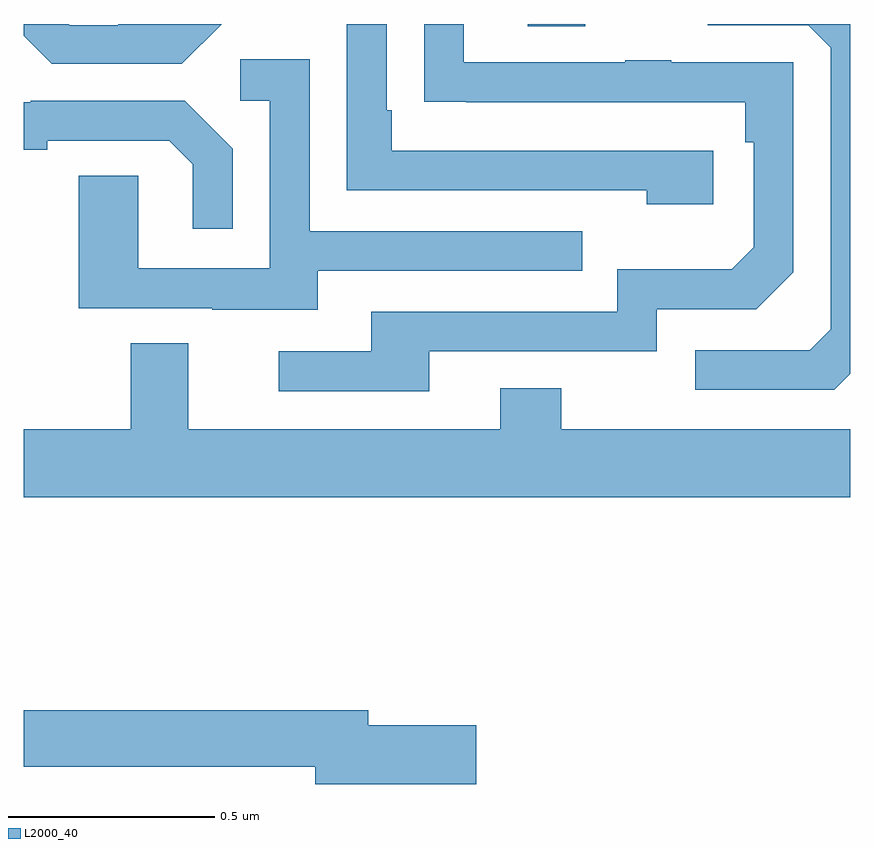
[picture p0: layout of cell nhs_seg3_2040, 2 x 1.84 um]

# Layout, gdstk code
import gdstk
lib = gdstk.Library(unit=1e-6, precision=1e-09)
def R(c, l, rs):  # rectangles x0, y0, x1, y1
    for r in rs: c.add(gdstk.rectangle(r[:2], r[2:], *l))
def P(c, l, *ps):  # polygons
    for p in ps: c.add(gdstk.Polygon(p, *l))
L2000_40 = (2000, 40)

nhs_seg3_2040 = lib.new_cell('nhs_seg3_2040')
R(nhs_seg3_2040, L2000_40, [(137.219,695.394,137.359,695.4)])
P(nhs_seg3_2040, L2000_40, [(136.479,695.4),(136.229,695.4),(136.229,695.397),(136.113,695.397),(136.11,695.4),(136,695.4),(136,695.372),(136.068,695.304),(136.383,695.304)],
  [(137.668,695.094),(136.891,695.094),(136.891,695.191),(136.878,695.191),(136.878,695.4),(136.782,695.4),(136.782,694.998),(137.507,694.998),(137.507,694.964),(137.668,694.964)],
  [(138,694.554),(138,695.4),(137.655,695.4),(137.655,695.397),(137.898,695.397),(137.952,695.343),(137.952,694.662),(137.901,694.611),(137.625,694.611),(137.625,694.515),(137.961,694.515)],
  [(136.981,694.608),(137.532,694.608),(137.532,694.71),(137.772,694.71),(137.862,694.8),(137.862,695.307),(137.567,695.307),(137.567,695.312),(137.455,695.312),(137.455,695.307),(137.065,695.307),(137.065,695.4),(136.969,695.4),(136.969,695.212),(137.071,695.212),(137.071,695.211),(137.746,695.211),(137.746,695.114),(137.766,695.114),(137.766,694.86),(137.713,694.807),(137.436,694.807),(137.436,694.704),(136.841,694.704),(136.841,694.608),(136.617,694.608),(136.617,694.512),(136.981,694.512)],
  [(136.711,694.803),(137.351,694.803),(137.351,694.899),(136.692,694.899),(136.692,695.315),(136.524,695.315),(136.524,695.214),(136.596,695.214),(136.596,694.809),(136.278,694.809),(136.278,695.033),(136.133,695.033),(136.133,694.713),(136.457,694.713),(136.457,694.709),(136.711,694.709)],
  [(136.506,695.098),(136.39,695.214),(136.018,695.214),(136.018,695.211),(136,695.211),(136,695.096),(136.057,695.096),(136.057,695.118),(136.352,695.118),(136.409,695.061),(136.409,694.905),(136.506,694.905)],
  [(138,694.42),(137.301,694.42),(137.301,694.519),(137.153,694.519),(137.153,694.42),(136.399,694.42),(136.399,694.628),(136.259,694.628),(136.259,694.42),(136,694.42),(136,694.256),(138,694.256)],
  [(137.095,693.704),(136.834,693.704),(136.834,693.74),(136,693.74),(136,693.604),(136.706,693.604),(136.706,693.562),(137.095,693.562)])

lib.write_gds('nhs_seg3_2040.gds')
